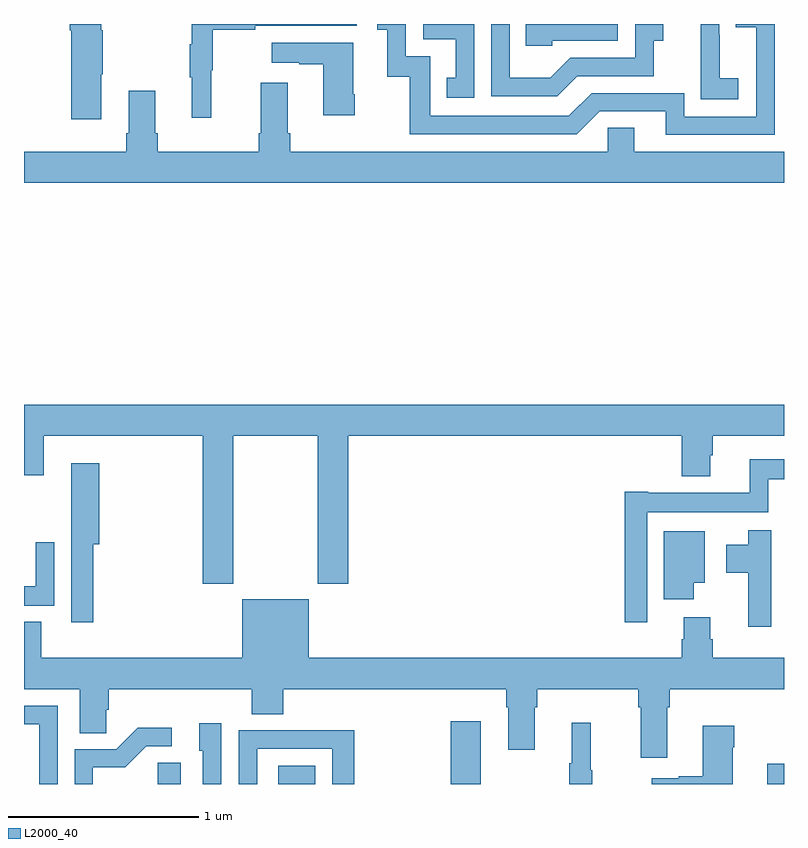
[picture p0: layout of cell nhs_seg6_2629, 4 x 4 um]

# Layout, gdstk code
import gdstk
lib = gdstk.Library(unit=1e-6, precision=1e-09)
def R(c, l, rs):  # rectangles x0, y0, x1, y1
    for r in rs: c.add(gdstk.rectangle(r[:2], r[2:], *l))
def P(c, l, *ps):  # polygons
    for p in ps: c.add(gdstk.Polygon(p, *l))
L2000_40 = (2000, 40)

nhs_seg6_2629 = lib.new_cell('nhs_seg6_2629')
R(nhs_seg6_2629, L2000_40, [(267.705,949.5,267.826,949.613), (268.337,949.5,268.534,949.597), (269.246,949.5,269.404,949.831), (270.911,949.5,271,949.606)])
P(nhs_seg6_2629, L2000_40, [(270.951,953.5),(270.745,953.5),(270.745,953.482),(270.855,953.482),(270.855,953.013),(270.474,953.013),(270.474,953.136),(269.988,953.136),(269.868,953.016),(269.139,953.016),(269.139,953.331),(269.01,953.331),(269.01,953.5),(268.86,953.5),(268.86,953.469),(268.913,953.469),(268.913,953.223),(269.031,953.223),(269.031,952.92),(269.91,952.92),(270.03,953.04),(270.377,953.04),(270.377,952.917),(270.951,952.917)],
  [(269.911,953.226),(270.315,953.226),(270.315,953.411),(270.364,953.411),(270.364,953.5),(270.216,953.5),(270.216,953.322),(269.874,953.322),(269.77,953.218),(269.556,953.218),(269.556,953.5),(269.46,953.5),(269.46,953.121),(269.806,953.121)],
  [(267.406,953.236),(267.414,953.236),(267.414,953.466),(267.406,953.466),(267.406,953.5),(267.242,953.5),(267.242,953.466),(267.248,953.466),(267.248,952.998),(267.406,952.998)],
  [(269.37,953.5),(269.1,953.5),(269.1,953.421),(269.273,953.421),(269.273,953.217),(269.224,953.217),(269.224,953.112),(269.37,953.112)],
  [(270.76,953.215),(270.662,953.215),(270.662,953.444),(270.66,953.444),(270.66,953.5),(270.563,953.5),(270.563,953.311),(270.562,953.311),(270.562,953.105),(270.76,953.105)],
  [(269.781,953.412),(270.126,953.412),(270.126,953.5),(269.641,953.5),(269.641,953.385),(269.781,953.385)],
  [(267.986,953.256),(267.994,953.256),(267.994,953.47),(268.217,953.47),(268.217,953.49),(268.75,953.49),(268.75,953.5),(267.884,953.5),(267.884,953.393),(267.873,953.393),(267.873,953.219),(267.884,953.219),(267.884,953.007),(267.986,953.007)],
  [(268.74,953.131),(268.732,953.131),(268.732,953.401),(268.305,953.401),(268.305,953.297),(268.448,953.297),(268.448,953.287),(268.574,953.287),(268.574,953.019),(268.74,953.019)],
  [(271,952.828),(270.211,952.828),(270.211,952.955),(270.072,952.955),(270.072,952.828),(268.4,952.828),(268.4,952.924),(268.387,952.924),(268.387,953.191),(268.247,953.191),(268.247,952.924),(268.235,952.924),(268.235,952.828),(267.704,952.828),(267.704,952.924),(267.691,952.924),(267.691,953.149),(267.551,953.149),(267.551,952.924),(267.539,952.924),(267.539,952.828),(267,952.828),(267,952.664),(271,952.664)],
  [(268.101,951.332),(268.546,951.332),(268.546,950.553),(268.706,950.553),(268.706,951.332),(270.461,951.332),(270.461,951.119),(270.613,951.119),(270.613,951.231),(270.626,951.231),(270.626,951.332),(271,951.332),(271,951.496),(267,951.496),(267,951.124),(267.104,951.124),(267.104,951.332),(267.941,951.332),(267.941,950.553),(268.101,950.553)],
  [(270.279,950.93),(270.918,950.93),(270.918,951.104),(271,951.104),(271,951.208),(270.821,951.208),(270.821,951.034),(270.286,951.034),(270.286,951.037),(270.163,951.037),(270.163,950.352),(270.279,950.352)],
  [(267.365,950.762),(267.395,950.762),(267.395,951.187),(267.248,951.187),(267.248,950.866),(267.249,950.866),(267.249,950.352),(267.365,950.352)],
  [(270.934,950.836),(270.812,950.836),(270.812,950.758),(270.695,950.758),(270.695,950.611),(270.812,950.611),(270.812,950.328),(270.934,950.328)],
  [(270.526,950.558),(270.583,950.558),(270.583,950.83),(270.368,950.83),(270.368,950.472),(270.526,950.472)],
  [(267.159,950.773),(267.063,950.773),(267.063,950.542),(267,950.542),(267,950.438),(267.159,950.438)],
  [(270.385,949.904),(270.398,949.904),(270.398,950),(271,950),(271,950.164),(270.626,950.164),(270.626,950.262),(270.613,950.262),(270.613,950.377),(270.473,950.377),(270.473,950.262),(270.461,950.262),(270.461,950.164),(268.498,950.164),(268.498,950.473),(268.148,950.473),(268.148,950.164),(267.091,950.164),(267.091,950.353),(267,950.353),(267,950),(267.293,950),(267.293,949.768),(267.432,949.768),(267.432,949.891),(267.446,949.891),(267.446,950),(268.199,950),(268.199,949.867),(268.364,949.867),(268.364,950),(269.537,950),(269.537,949.904),(269.549,949.904),(269.549,949.68),(269.689,949.68),(269.689,949.904),(269.702,949.904),(269.702,950),(270.233,950),(270.233,949.904),(270.245,949.904),(270.245,949.638),(270.385,949.638)],
  [(267.177,949.911),(267,949.911),(267,949.815),(267.081,949.815),(267.081,949.5),(267.177,949.5)],
  [(269.992,949.572),(269.984,949.572),(269.984,949.822),(269.882,949.822),(269.882,949.609),(269.871,949.609),(269.871,949.5),(269.992,949.5)],
  [(268.038,949.819),(267.923,949.819),(267.923,949.674),(267.942,949.674),(267.942,949.5),(268.038,949.5)],
  [(270.73,949.694),(270.738,949.694),(270.738,949.807),(270.572,949.807),(270.572,949.541),(270.446,949.541),(270.446,949.531),(270.303,949.531),(270.303,949.5),(270.73,949.5)],
  [(267.363,949.587),(267.532,949.587),(267.643,949.698),(267.778,949.698),(267.778,949.796),(267.599,949.796),(267.486,949.683),(267.267,949.683),(267.267,949.5),(267.363,949.5)],
  [(268.227,949.686),(268.623,949.686),(268.623,949.5),(268.739,949.5),(268.739,949.784),(268.447,949.784),(268.447,949.782),(268.131,949.782),(268.131,949.5),(268.227,949.5)])

lib.write_gds('nhs_seg6_2629.gds')
